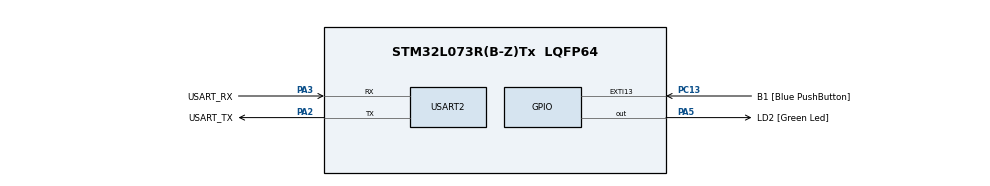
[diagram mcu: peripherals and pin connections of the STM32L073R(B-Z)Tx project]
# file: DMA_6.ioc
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Dma.Request0=USART2_TX
Dma.USART2_TX.0.Direction=DMA_MEMORY_TO_PERIPH
Dma.USART2_TX.0.Instance=DMA1_Channel4
Dma.USART2_TX.0.MemDataAlignment=DMA_MDATAALIGN_BYTE
Dma.USART2_TX.0.MemInc=DMA_MINC_ENABLE
Dma.USART2_TX.0.Mode=DMA_CIRCULAR
Dma.USART2_TX.0.PeriphDataAlignment=DMA_PDATAALIGN_BYTE
Dma.USART2_TX.0.PeriphInc=DMA_PINC_DISABLE
Dma.USART2_TX.0.Priority=DMA_PRIORITY_LOW
Mcu.Family=STM32L0
Mcu.Name=STM32L073R(B-Z)Tx
Mcu.Package=LQFP64
NVIC.DMA1_Channel4_5_6_7_IRQn=true\:0\:0\:false\:false\:true\:false\:true\:true
NVIC.USART2_IRQn=true\:0\:0\:false\:false\:true\:true\:true\:true
PA13.GPIO_Label=TMS
PA13.Mode=Serial_Wire
PA13.Signal=SYS_SWDIO
PA14.GPIO_Label=TCK
PA14.Mode=Serial_Wire
PA14.Signal=SYS_SWCLK
PA2.GPIO_Label=USART_TX
PA2.Mode=Asynchronous
PA2.Signal=USART2_TX
PA3.GPIO_Label=USART_RX
PA3.Mode=Asynchronous
PA3.Signal=USART2_RX
PA5.GPIO_Label=LD2 [Green Led]
PA5.Signal=GPIO_Output
PC13.GPIO_Label=B1 [Blue PushButton]
PC13.GPIO_ModeDefaultEXTI=GPIO_MODE_IT_FALLING
PC13.Signal=GPXTI13
PC14-OSC32_IN.Mode=LSE-External-Oscillator
PC14-OSC32_IN.Signal=RCC_OSC32_IN
PC15-OSC32_OUT.Mode=LSE-External-Oscillator
PC15-OSC32_OUT.Signal=RCC_OSC32_OUT
PH0-OSC_IN.GPIO_Label=MCO
PH0-OSC_IN.Mode=HSE-External-Clock-Source
PH0-OSC_IN.Signal=RCC_OSC_IN
ProjectManager.HeapSize=0x200
ProjectManager.StackSize=0x400
ProjectManager.TargetToolchain=STM32CubeIDE
RCC.AHBFreq_Value=2097000
RCC.APB1Freq_Value=2097000
RCC.APB1TimFreq_Value=2097000
RCC.APB2Freq_Value=2097000
RCC.APB2TimFreq_Value=2097000
RCC.HSE_VALUE=8000000
RCC.HSI16_VALUE=16000000
RCC.HSI48_VALUE=48000000
RCC.HSI_VALUE=16000000
RCC.MSI_VALUE=2097000
RCC.SYSCLKFreq_VALUE=2097000
RCC.VCOOutputFreq_Value=48000000
USART2.VirtualMode-Asynchronous=VM_ASYNC
board=NUCLEO-L073RZ

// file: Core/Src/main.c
/* USER CODE BEGIN Header */
/**
  ******************************************************************************
  * @file           : main.c
  * @brief          : Main program body
  ******************************************************************************
  * @attention
  *
  * Copyright (c) 2024 STMicroelectronics.
  * All rights reserved.
  *
  * This software is licensed under terms that can be found in the LICENSE file
  * in the root directory of this software component.
  * If no LICENSE file comes with this software, it is provided AS-IS.
  *
  ******************************************************************************
  */
/* USER CODE END Header */
#include "main.h"

UART_HandleTypeDef huart2;
DMA_HandleTypeDef hdma_usart2_tx;

void SystemClock_Config(void);
static void MX_GPIO_Init(void);
static void MX_DMA_Init(void);
static void MX_USART2_UART_Init(void);

/* USER CODE BEGIN 0 */
uint8_t TxData[10240]; //array of 10KB

int countLoop = 0;
int countInterrupt = 0;
int isSent = 1;//keep track of data being transferred
int indx = 49; //char '1'
void HAL_UART_RxHalfCpltCallback(UART_HandleTypeDef *huart)
{
	for (uint32_t i=0; i<5120; i++)
	  {
		  TxData [i] = indx;
	  }
	  indx++;
}
void HAL_UART_TxCpltCallback(UART_HandleTypeDef *huart)
{
	for (uint32_t i=5120; i<10240; i++)
	{
		TxData [i] = indx;
	}
	indx++;
	if (indx >= 60) {
		HAL_UART_DMAStop(&huart2);
	}
	isSent = 1;
	//inform the CPU that the data has been transmitted.
	countInterrupt++;
}
/* USER CODE END 0 */

int main(void)
{

  /* MCU Configuration--------------------------------------------------------*/

  /* Reset of all peripherals, Initializes the Flash interface and the Systick. */
  HAL_Init();

  /* Configure the system clock */
  SystemClock_Config();

  /* Initialize all configured peripherals */
  MX_GPIO_Init();
  MX_DMA_Init();
  MX_USART2_UART_Init();
  /* USER CODE BEGIN 2 */
  for (uint32_t i=0; i<10240; i++)
  {
	  TxData [i] = i&(0xff);
  }
  HAL_UART_Transmit_DMA(&huart2, TxData, 10240);
  /* USER CODE END 2 */

  /* Infinite loop */
  while (1)
  {

    /* USER CODE BEGIN 3 */
//	if (isSent == 1)
//	{
//		HAL_UART_Transmit_DMA(&huart2, TxData, 10240);
//		//HAL_MAX_DELAY means the function will never time out
//		isSent = 0;
//	}
	HAL_GPIO_TogglePin(GPIOA, GPIO_PIN_5);
	HAL_Delay(1000);
	countLoop++;

	//Circular mode
	//Use the circular mode more effectively
	//How to stop the DMA

	//HAL_UART_RxHalfCpltCallback is triggered when the DMA
	//finishes transferring half the data.
	//HAL_UART_RxHalfCpltCallback will be called when DMA
	//has transferred 5KB of data.
	//It will be called once the first half has been transferred.
	//Inside the callback, load new data to the first half of the buffer,
	//while the DMA is sending the second half.
	//Similarly when the second half is transferred, transfer
	//complete callback will be called.
	//The DMA is in the circular mode,
	//so it is transferring the first half again.
	//during that time, load new data to the second half of the buffer.
	//When the DMA transfers the second half, we update the data in the first half
	//and when it transfers the first half, we update the data in the second half.
	//The process will continue until we issue a stop instruction
	//once the condition is satisfied call HAL_UART_DMAStop to stop the DMA
	//Use DMA circular mode to transfer a large amount of data
	//we can still have smaller buffers and load the new data in the runtime itself.
  }

  /* USER CODE END 3 */
}

void SystemClock_Config(void)
{
  RCC_OscInitTypeDef RCC_OscInitStruct = {0};
  RCC_ClkInitTypeDef RCC_ClkInitStruct = {0};
  RCC_PeriphCLKInitTypeDef PeriphClkInit = {0};

  /** Configure the main internal regulator output voltage
  */
  __HAL_PWR_VOLTAGESCALING_CONFIG(PWR_REGULATOR_VOLTAGE_SCALE1);

  /** Initializes the RCC Oscillators according to the specified parameters
  * in the RCC_OscInitTypeDef structure.
  */
  RCC_OscInitStruct.OscillatorType = RCC_OSCILLATORTYPE_HSE;
  RCC_OscInitStruct.HSEState = RCC_HSE_BYPASS;
  RCC_OscInitStruct.PLL.PLLState = RCC_PLL_NONE;
  if (HAL_RCC_OscConfig(&RCC_OscInitStruct) != HAL_OK)
  {
    Error_Handler();
  }

  /** Initializes the CPU, AHB and APB buses clocks
  */
  RCC_ClkInitStruct.ClockType = RCC_CLOCKTYPE_HCLK|RCC_CLOCKTYPE_SYSCLK
                              |RCC_CLOCKTYPE_PCLK1|RCC_CLOCKTYPE_PCLK2;
  RCC_ClkInitStruct.SYSCLKSource = RCC_SYSCLKSOURCE_HSE;
  RCC_ClkInitStruct.AHBCLKDivider = RCC_SYSCLK_DIV1;
  RCC_ClkInitStruct.APB1CLKDivider = RCC_HCLK_DIV1;
  RCC_ClkInitStruct.APB2CLKDivider = RCC_HCLK_DIV1;

  if (HAL_RCC_ClockConfig(&RCC_ClkInitStruct, FLASH_LATENCY_0) != HAL_OK)
  {
    Error_Handler();
  }
  PeriphClkInit.PeriphClockSelection = RCC_PERIPHCLK_USART2;
  PeriphClkInit.Usart2ClockSelection = RCC_USART2CLKSOURCE_PCLK1;
  if (HAL_RCCEx_PeriphCLKConfig(&PeriphClkInit) != HAL_OK)
  {
    Error_Handler();
  }
}

static void MX_USART2_UART_Init(void)
{

  huart2.Instance = USART2;
  huart2.Init.BaudRate = 115200;
  huart2.Init.WordLength = UART_WORDLENGTH_8B;
  huart2.Init.StopBits = UART_STOPBITS_1;
  huart2.Init.Parity = UART_PARITY_NONE;
  huart2.Init.Mode = UART_MODE_TX_RX;
  huart2.Init.HwFlowCtl = UART_HWCONTROL_NONE;
  huart2.Init.OverSampling = UART_OVERSAMPLING_16;
  huart2.Init.OneBitSampling = UART_ONE_BIT_SAMPLE_DISABLE;
  huart2.AdvancedInit.AdvFeatureInit = UART_ADVFEATURE_NO_INIT;
  if (HAL_UART_Init(&huart2) != HAL_OK)
  {
    Error_Handler();
  }

}

static void MX_DMA_Init(void)
{

  /* DMA controller clock enable */
  __HAL_RCC_DMA1_CLK_ENABLE();

  /* DMA interrupt init */
  /* DMA1_Channel4_5_6_7_IRQn interrupt configuration */
  HAL_NVIC_SetPriority(DMA1_Channel4_5_6_7_IRQn, 0, 0);
  HAL_NVIC_EnableIRQ(DMA1_Channel4_5_6_7_IRQn);

}

static void MX_GPIO_Init(void)
{
  GPIO_InitTypeDef GPIO_InitStruct = {0};

  /* GPIO Ports Clock Enable */
  __HAL_RCC_GPIOC_CLK_ENABLE();
  __HAL_RCC_GPIOH_CLK_ENABLE();
  __HAL_RCC_GPIOA_CLK_ENABLE();

  /*Configure GPIO pin Output Level */
  HAL_GPIO_WritePin(LD2_GPIO_Port, LD2_Pin, GPIO_PIN_RESET);

  /*Configure GPIO pin : B1_Pin */
  GPIO_InitStruct.Pin = B1_Pin;
  GPIO_InitStruct.Mode = GPIO_MODE_IT_FALLING;
  GPIO_InitStruct.Pull = GPIO_NOPULL;
  HAL_GPIO_Init(B1_GPIO_Port, &GPIO_InitStruct);

  /*Configure GPIO pin : LD2_Pin */
  GPIO_InitStruct.Pin = LD2_Pin;
  GPIO_InitStruct.Mode = GPIO_MODE_OUTPUT_PP;
  GPIO_InitStruct.Pull = GPIO_NOPULL;
  GPIO_InitStruct.Speed = GPIO_SPEED_FREQ_LOW;
  HAL_GPIO_Init(LD2_GPIO_Port, &GPIO_InitStruct);

}

void Error_Handler(void)
{
  __disable_irq();
  while (1)
  {
  }
}
